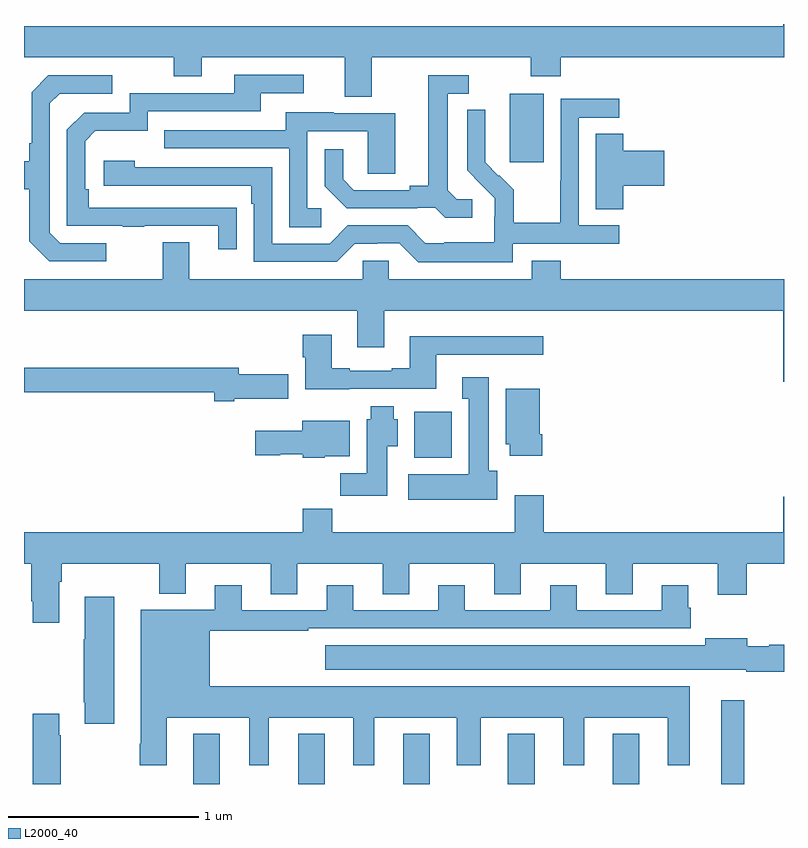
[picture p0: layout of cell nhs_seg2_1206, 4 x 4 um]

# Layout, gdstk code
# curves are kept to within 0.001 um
import gdstk
lib = gdstk.Library(unit=1e-6, precision=1e-09)
def R(c, l, rs):  # rectangles x0, y0, x1, y1
    for r in rs: c.add(gdstk.rectangle(r[:2], r[2:], *l))
def A(c, l, x, y, w, h, nx, ny, dx, dy):  # array of equal rectangles
    R(c, l, [(x+i*dx, y+j*dy, x+i*dx+w, y+j*dy+h) for i in range(nx) for j in range(ny)])
def P(c, l, *ps):  # polygons
    for p in ps: c.add(gdstk.Polygon(p, *l))
L2000_40 = (2000, 40)

nhs_seg2_1206 = lib.new_cell('nhs_seg2_1206')
A(nhs_seg2_1206, L2000_40, 173.891, 655.8, 0.14, 0.265, 5, 1, 0.552, 0)
R(nhs_seg2_1206, L2000_40, [(176.669,655.8,176.791,656.242), (175.055,657.518,175.252,657.76), (175.556,659.073,175.735,659.434)])
P(nhs_seg2_1206, L2000_40, [(174.829,659.624),(175.666,659.624),(175.666,659.525),(175.826,659.525),(175.826,659.624),(177,659.624),(177,659.8),(176.996,659.8),(176.996,659.788),(173,659.788),(173,659.624),(173.788,659.624),(173.788,659.525),(173.935,659.525),(173.935,659.624),(174.689,659.624),(174.689,659.416),(174.829,659.416)],
  [(174.119,658.832),(173.342,658.833),(173.342,658.93),(173.322,658.93),(173.322,659.184),(173.375,659.237),(173.652,659.237),(173.652,659.34),(174.247,659.34),(174.247,659.436),(174.472,659.436),(174.472,659.532),(174.107,659.532),(174.107,659.436),(173.556,659.436),(173.556,659.334),(173.316,659.334),(173.226,659.244),(173.226,658.737),(173.521,658.737),(173.521,658.732),(173.633,658.732),(173.633,658.737),(174.023,658.737),(174.023,658.614),(174.119,658.614)],
  [(173.434,658.647),(173.19,658.647),(173.136,658.701),(173.136,659.382),(173.187,659.433),(173.464,659.433),(173.464,659.529),(173.127,659.529),(173.04,659.442),(173.04,659.173),(173.028,659.173),(173.028,659.077),(173,659.077),(173,658.93),(173.028,658.93),(173.028,658.657),(173.133,658.551),(173.434,658.551)],
  [(175.36,658.878),(175.278,658.878),(175.231,658.925),(175.231,659.433),(175.342,659.433),(175.342,659.529),(175.127,659.529),(175.127,658.949),(175.031,658.949),(175.031,658.926),(174.736,658.926),(174.679,658.983),(174.679,659.14),(174.582,659.14),(174.582,658.946),(174.698,658.83),(175.07,658.83),(175.07,658.833),(175.164,658.833),(175.216,658.781),(175.36,658.781)],
  [(175.572,658.644),(176.134,658.644),(176.134,658.74),(175.92,658.74),(175.92,659.307),(176.134,659.307),(176.134,659.406),(175.824,659.406),(175.824,658.976),(175.822,658.976),(175.822,658.753),(175.577,658.753),(175.577,658.927),(175.5,659.004),(175.497,659.001),(175.427,659.072),(175.428,659.348),(175.332,659.348),(175.332,659.03),(175.478,658.882),(175.478,658.785),(175.476,658.785),(175.476,658.651),(175.213,658.651),(175.213,658.647),(175.113,658.647),(175.02,658.74),(174.705,658.74),(174.609,658.644),(174.306,658.644),(174.306,659.046),(173.582,659.046),(173.582,659.08),(173.421,659.08),(173.421,658.95),(174.197,658.95),(174.197,658.853),(174.21,658.853),(174.21,658.548),(174.645,658.548),(174.741,658.644),(174.86,658.644),(174.86,658.647),(174.975,658.647),(175.075,658.547),(175.572,658.547)],
  [(174.565,658.83),(174.492,658.83),(174.492,659.235),(174.81,659.235),(174.81,659.011),(174.955,659.011),(174.955,659.331),(174.631,659.331),(174.631,659.335),(174.377,659.335),(174.377,659.241),(173.737,659.241),(173.737,659.145),(174.396,659.145),(174.396,658.729),(174.565,658.729)],
  [(176.153,658.949),(176.371,658.949),(176.371,659.132),(176.153,659.132),(176.153,659.222),(176.009,659.222),(176.009,658.825),(176.153,658.825)],
  [(177,658.456),(175.826,658.456),(175.826,658.555),(175.673,658.555),(175.673,658.456),(174.921,658.456),(174.921,658.554),(174.783,658.554),(174.783,658.456),(173.869,658.456),(173.869,658.651),(173.729,658.651),(173.729,658.456),(173,658.456),(173,658.292),(174.755,658.292),(174.755,658.098),(174.895,658.098),(174.895,658.292),(176.996,658.292),(176.996,657.918),(177,657.918)],
  [(174.711,657.879),(175.171,657.879),(175.171,658.059),(175.732,658.059),(175.732,658.156),(175.031,658.156),(175.031,657.988),(174.935,657.988),(174.935,657.975),(174.715,657.975),(174.715,657.988),(174.619,657.988),(174.619,658.165),(174.467,658.165),(174.467,658.045),(174.479,658.045),(174.479,657.878),(174.711,657.878)],
  [(174.106,657.827),(174.391,657.827),(174.391,657.957),(174.13,657.957),(174.13,657.991),(173,657.991),(173,657.862),(174.002,657.862),(174.002,657.815),(174.106,657.815)],
  [(175.492,657.45),(175.447,657.45),(175.447,657.94),(175.307,657.94),(175.307,657.827),(175.34,657.827),(175.34,657.43),(175.023,657.43),(175.023,657.296),(175.492,657.296)],
  [(175.727,657.64),(175.714,657.64),(175.714,657.88),(175.535,657.88),(175.535,657.588),(175.556,657.588),(175.556,657.528),(175.727,657.528)],
  [(174.913,657.577),(174.967,657.577),(174.967,657.72),(174.946,657.72),(174.946,657.787),(174.824,657.787),(174.824,657.72),(174.803,657.72),(174.803,657.436),(174.664,657.436),(174.664,657.318),(174.913,657.318)],
  [(174.582,657.524),(174.715,657.524),(174.715,657.712),(174.464,657.712),(174.464,657.658),(174.216,657.658),(174.216,657.529),(174.348,657.529),(174.348,657.536),(174.468,657.536),(174.468,657.518),(174.582,657.518)],
  [(173.185,656.864),(173.198,656.864),(173.198,656.96),(173.711,656.96),(173.711,656.801),(173.851,656.801),(173.851,656.96),(174.299,656.96),(174.299,656.8),(174.439,656.8),(174.439,656.96),(174.887,656.96),(174.887,656.8),(175.027,656.8),(175.027,656.96),(175.475,656.96),(175.475,656.8),(175.615,656.8),(175.615,656.96),(176.063,656.96),(176.063,656.8),(176.203,656.8),(176.203,656.96),(176.651,656.96),(176.651,656.796),(176.804,656.796),(176.804,656.96),(177,656.96),(177,657.313),(176.996,657.313),(176.996,657.124),(175.736,657.124),(175.736,657.319),(175.583,657.319),(175.583,657.124),(174.623,657.124),(174.623,657.248),(174.467,657.248),(174.467,657.124),(173,657.124),(173,656.96),(173.038,656.96),(173.038,656.761),(173.045,656.761),(173.045,656.649),(173.185,656.649)],
  [(173.752,656.15),(174.185,656.15),(174.185,655.899),(174.289,655.899),(174.289,656.15),(174.734,656.15),(174.734,655.899),(174.844,655.899),(174.844,656.15),(175.277,656.15),(175.277,655.899),(175.405,655.899),(175.405,656.15),(175.838,656.15),(175.838,655.899),(175.948,655.899),(175.948,656.15),(176.387,656.15),(176.387,655.899),(176.503,655.899),(176.503,656.314),(173.977,656.314),(173.977,656.607),(174.497,656.607),(174.497,656.619),(176.51,656.619),(176.51,656.727),(176.497,656.727),(176.497,656.845),(176.357,656.845),(176.357,656.715),(175.909,656.715),(175.909,656.845),(175.769,656.845),(175.769,656.715),(175.321,656.715),(175.321,656.845),(175.181,656.845),(175.181,656.715),(174.733,656.715),(174.733,656.845),(174.593,656.845),(174.593,656.715),(174.145,656.715),(174.145,656.845),(174.005,656.845),(174.005,656.716),(173.615,656.716),(173.615,656.011),(173.608,656.011),(173.608,655.899),(173.752,655.899)],
  [(173.476,656.785),(173.321,656.785),(173.321,656.561),(173.314,656.561),(173.314,656.23),(173.321,656.23),(173.321,656.118),(173.476,656.118)],
  [(177,656.532),(176.922,656.532),(176.922,656.524),(176.806,656.524),(176.806,656.566),(176.585,656.566),(176.585,656.53),(174.585,656.53),(174.585,656.402),(176.802,656.402),(176.802,656.39),(177,656.39)],
  [(173.193,656.057),(173.185,656.057),(173.185,656.17),(173.045,656.17),(173.045,655.8),(173.193,655.8)])

lib.write_gds('nhs_seg2_1206.gds')
